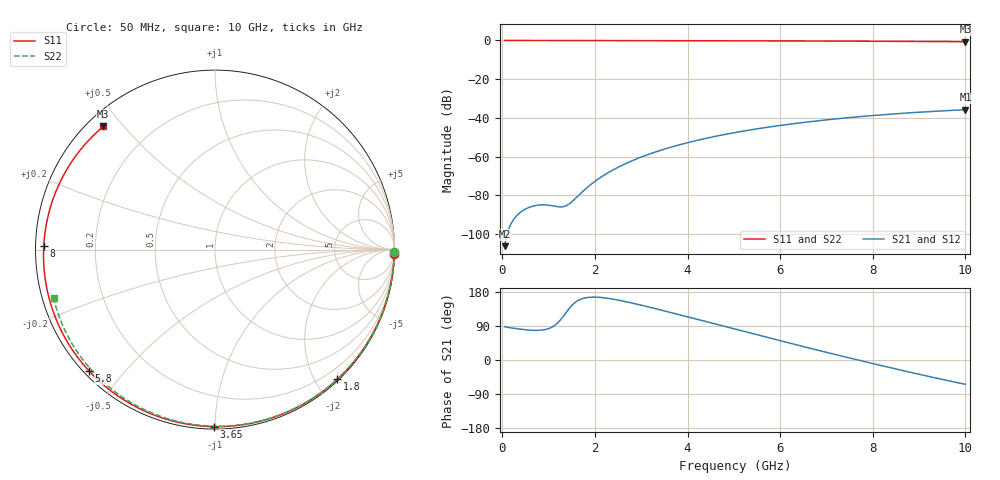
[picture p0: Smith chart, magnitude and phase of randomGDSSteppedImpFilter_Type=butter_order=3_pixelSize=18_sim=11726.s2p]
! freq	dB(S11)	phase(S11)	dB(S12)	phase(S12)
!  dB(S21)	phase(S21)	dB(S22)	phase(S22)
!S-par simulation data
#  GHz  S  DB  R 50
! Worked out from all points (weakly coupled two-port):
!   200 points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, 50 MHz to 10 GHz, reference 50 ohm
!   highest |S21| = -35.78 dB at 10 GHz (marker M1); lowest = -106.2 dB at 50 MHz (marker M2)
!   lowest |S11| = -0.7 dB at 10 GHz (marker M3), VSWR 26.08, Z = 2.29 + j22.1 ohm
!   |S11| at or under -10 dB: nowhere
!   |S22| runs from -0.5 to 0.0 dB; largest |S21 - S12| = 0
!   S11 on the Smith chart (normalised r, x): 50 MHz: 2, -90; 1.8 GHz: 0.02, -2.32; 3.65 GHz: 0.01, -0.99; 5.8 GHz: 0.01, -0.40; 8 GHz: 0.02, +0.01; 10 GHz: 0.05, +0.44
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0.05  -0.00 -1.3  -106.24 88.1  -106.24 88.1  -0.00 -0.9
0.45  -0.02 -11.9  -87.77 80.5  -87.77 80.5  -0.01 -8.4
0.8  -0.03 -21.0  -84.97 78.4  -84.97 78.4  -0.02 -14.8
1.2  -0.04 -31.4  -85.88 98.2  -85.88 98.2  -0.03 -22.2
1.65  -0.05 -42.8  -79.96 158.0  -79.96 158.0  -0.04 -30.3
1.75  -0.06 -45.3  -77.70 162.7  -77.70 162.7  -0.04 -32.1
1.8  -0.06 -46.6  -76.63 164.2  -76.63 164.2  -0.04 -33.0
2.1  -0.07 -54.0  -71.09 165.3  -71.09 165.3  -0.05 -38.4
2.45  -0.08 -62.5  -66.10 159.3  -66.10 159.3  -0.06 -44.6
2.9  -0.09 -73.2  -61.16 147.6  -61.16 147.6  -0.07 -52.4
3.4  -0.11 -84.7  -56.87 132.7  -56.87 132.7  -0.08 -61.0
3.65  -0.12 -90.4  -55.06 124.9  -55.06 124.9  -0.09 -65.2
4.35  -0.15 -105.7  -50.81 102.8  -50.81 102.8  -0.11 -76.8
5.05  -0.18 -120.5  -47.46 80.6  -47.46 80.6  -0.14 -88.0
5.8  -0.22 -136.0  -44.57 57.0  -44.57 57.0  -0.17 -99.7
6.7  -0.29 -154.3  -41.80 29.3  -41.80 29.3  -0.22 -113.4
7.35  -0.34 -167.6  -40.16 9.7  -40.16 9.7  -0.27 -123.1
8  -0.41 178.7  -38.77 -9.4  -38.77 -9.4  -0.32 -132.8
8.35  -0.44 171.1  -38.12 -19.5  -38.12 -19.5  -0.35 -138.0
8.8  -0.50 161.1  -37.37 -32.2  -37.37 -32.2  -0.40 -144.8
9.2  -0.55 151.9  -36.78 -43.1  -36.78 -43.1  -0.44 -150.8
10  -0.67 132.2  -35.78 -64.1  -35.78 -64.1  -0.54 -163.2
